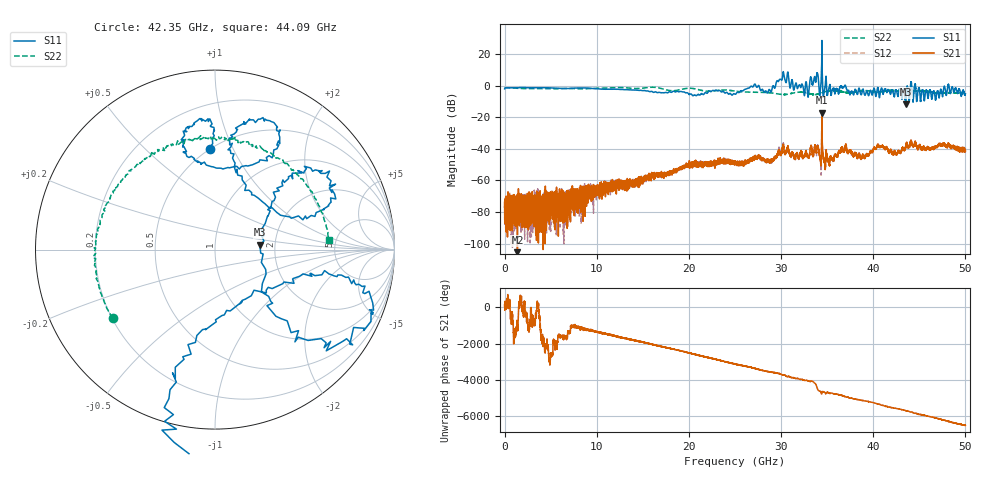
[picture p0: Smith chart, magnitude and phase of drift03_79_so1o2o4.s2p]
!Created with skrf (http://scikit-rf.org).
# Hz S RI R 50.0
!freq ReS11 ImS11 ReS21 ImS21 ReS12 ImS12 ReS22 ImS22
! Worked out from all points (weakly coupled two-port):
!   10000 points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, 5.3 MHz to 50 GHz, reference 50 ohm
!   highest |S21| = -17.12 dB at 34.43 GHz (marker M1); lowest = -105.4 dB at 1.395 GHz (marker M2)
!   lowest |S11| = -12.0 dB at 43.52 GHz (marker M3), VSWR 1.67, Z = 83.2 + j4.9 ohm
!   |S11| at or under -10 dB: 43.48492 GHz to 43.54598 GHz (61.06 MHz wide, 0.14 % of centre); 43.89981 GHz to 43.90099 GHz (1.178 MHz wide, 0.00268 % of centre); 44.70384 GHz to 44.71073 GHz (6.887 MHz wide, 0.0154 % of centre) (the widest 3 of 7)
!   |S22| runs from -5.9 to -1.1 dB; largest |S21 - S12| = 0.043
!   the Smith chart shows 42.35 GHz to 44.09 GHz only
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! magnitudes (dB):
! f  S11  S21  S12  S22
! 5.3 MHz  -2.1  -76.8  -84.8  -1.3
! 1.395 GHz  -1.4  -105.4  -74.4  -1.7
! 3.93 GHz  -1.4  -80.7  -80.8  -2.0
! 8.34 GHz  -1.5  -69.4  -65.8  -2.1
! 16.67 GHz  -4.4  -55.6  -56.0  -1.4
! 20.22 GHz  -5.3  -50.2  -49.7  -1.7
! 25.01 GHz  -5.5  -49.6  -48.9  -3.5
! 27.02 GHz  -0.3  -46.4  -45.5  -4.3
! 28.72 GHz  -2.5  -48.4  -48.3  -4.5
! 30.14 GHz  4.4  -40.8  -40.1  -5.7
! 32.74 GHz  2.0  -42.1  -41.8  -4.5
! 33.34 GHz  2.7  -39.9  -40.3  -5.6
! 33.82 GHz  4.0  -42.6  -42.1  -5.7
! 34.43 GHz  28.5  -17.1  -19.3  -4.6
! 35.32 GHz  0.3  -46.2  -45.7  -3.4
! 36.84 GHz  -0.7  -42.2  -41.7  -4.2
! 38.85 GHz  -2.7  -43.8  -43.8  -3.2
! 40.59 GHz  -4.1  -37.8  -38.2  -4.0
! 41.67 GHz  -2.9  -41.7  -42.4  -3.3
! 43.52 GHz  -12.0  -39.1  -39.3  -4.1
! 48.33 GHz  -4.5  -37.7  -37.3  -4.5
! 50 GHz  -5.2  -41.5  -41.2  -4.5
